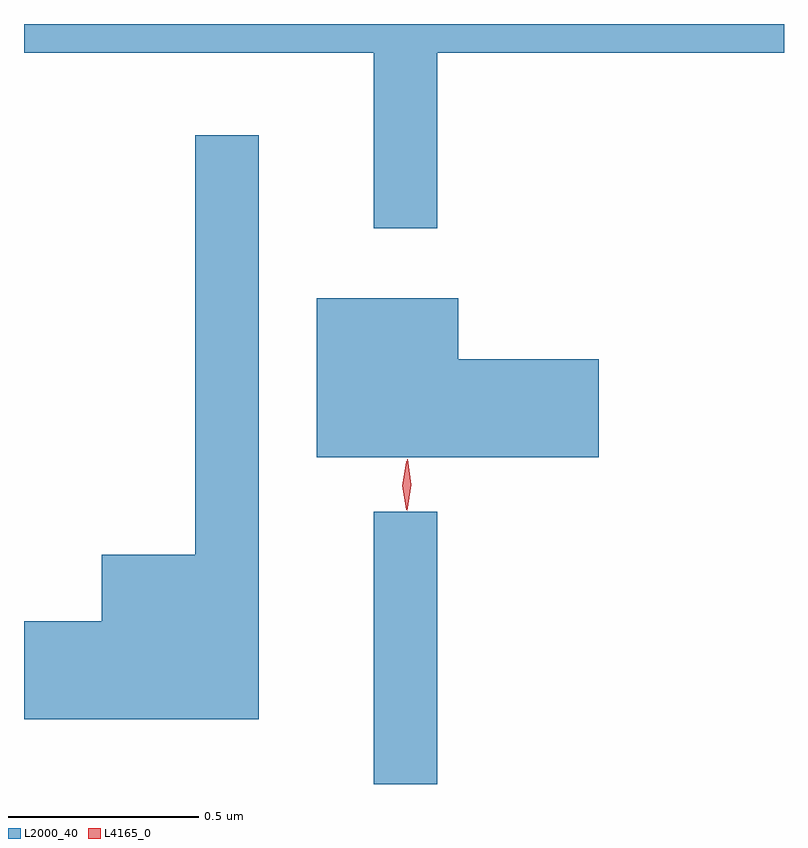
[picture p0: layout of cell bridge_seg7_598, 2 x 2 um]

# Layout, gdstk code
import gdstk
lib = gdstk.Library(unit=1e-6, precision=1e-09)
def R(c, l, rs):  # rectangles x0, y0, x1, y1
    for r in rs: c.add(gdstk.rectangle(r[:2], r[2:], *l))
def P(c, l, *ps):  # polygons
    for p in ps: c.add(gdstk.Polygon(p, *l))
L2000_40 = (2000, 40)
L4165_0 = (4165, 0)

bridge_seg7_598 = lib.new_cell('bridge_seg7_598')
R(bridge_seg7_598, L2000_40, [(789.141,1798.971,789.309,1799.688)])
P(bridge_seg7_598, L2000_40, [(789.309,1800.896),(790.221,1800.896),(790.221,1800.971),(788.221,1800.971),(788.221,1800.896),(789.141,1800.896),(789.141,1800.433),(789.309,1800.433)],
  [(788.839,1800.678),(788.671,1800.678),(788.671,1799.574),(788.426,1799.574),(788.426,1799.399),(788.221,1799.399),(788.221,1799.141),(788.839,1799.141)],
  [(789.734,1800.089),(789.364,1800.089),(789.364,1800.249),(788.991,1800.249),(788.991,1799.831),(789.734,1799.831)])
P(bridge_seg7_598, L4165_0, [(789.227,1799.693),(789.227,1799.693),(789.217,1799.756),(789.227,1799.819),(789.227,1799.82),(789.228,1799.819),(789.237,1799.756),(789.228,1799.693)],
  [(789.229,1799.69),(789.229,1799.69),(789.22,1799.758),(789.23,1799.826),(789.231,1799.826),(789.231,1799.826),(789.24,1799.758),(789.23,1799.69)])

lib.write_gds('bridge_seg7_598.gds')
